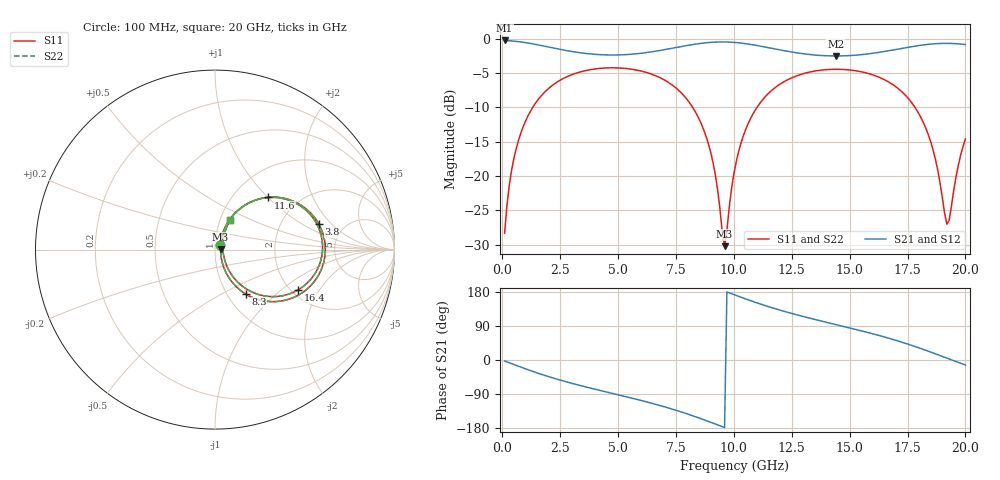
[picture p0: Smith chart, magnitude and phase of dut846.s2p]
! Touchstone file exported from HFSS 2026.1.0
!  File:  C:/ffzhzh/LocalFiles/Ansys_Project_Files/temp_train_TSV_RDL_846_1783268963_38820.aedt
!  Generated:  12:45:08 AM Jul  6, 2026
!  Design:  TSV_RDL
!  Project:  temp_train_TSV_RDL_846_1783268963_38820
! Variables:
!  h_bsmrdl = 3.57um
!  h_ox = 20um
!  h_rdl = 5um
!  h_sub = 80.22um
!  h_tmrdl = 5.19um
!  h_tsv = 80.22um
!  h_via = 3um
!  l_bsmrdl = 912.9um
!  l_sub = 6381.94um
!  l_tmrdl = 778.32um
!  m_sub = 200um
!  pitch = 58.08um
!  r_tsv = 3.94um
!  s_tmrdl = 10um
!  w_bsmrdl = 24.26um
!  w_sub = 500um
!  w_tmrdl = 19.06um
!  x_tsv_center1 = 787.85um
!  x_tsv_center2 = 1725.01um
!  x_tsv_center3 = 2522.39um
!  x_tsv_center4 = 3459.55um
!  x_tsv_center5 = 4256.93um
!  x_tsv_center6 = 5194.09um
# GHz S MA R 50.000000
! Terminal data exported
! Port[1] = TM_RDL1_1_T1
! Port[2] = TM_RDL5_1_T1
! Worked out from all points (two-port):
!   200 points, 100 MHz to 20 GHz, reference 50 ohm
!   highest |S21| = -0.24 dB at 100 MHz (marker M1); lowest = -2.5 dB at 14.4 GHz (marker M2)
!   |S21| within 3 dB of the highest: start of sweep to end of sweep
!   lowest |S11| = -30.2 dB at 9.6 GHz (marker M3), VSWR 1.06, Z = 53.2 + j0.105 ohm
!   |S11| at or under -10 dB: start of sweep to 1.315 GHz; 8.222 GHz to 11 GHz (2.776 GHz wide, 28.9 % of centre); 17.82 GHz to end of sweep
!   |S22| runs from -30.2 to -4.2 dB; largest |S21 - S12| = 1.6e-14
!   S11 on the Smith chart (normalised r, x): 100 MHz: 1.06, +0.06; 3.8 GHz: 3.27, +1.43; 8.3 GHz: 1.22, -0.66; 11.6 GHz: 1.43, +1.01; 16.4 GHz: 2.16, -1.32; 20 GHz: 1.12, +0.38
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0.1  0.03829 43.7  0.9731 -2.5  0.9731 -2.5  0.03829 43.7
! Gamma 0 0 0 0
! Port Impedance 50 0 50 0
0.5  0.1339 65.4  0.962 -11.9  0.962 -11.9  0.1339 65.4
1.1  0.272 58.2  0.9327 -25.5  0.9327 -25.5  0.272 58.2
2.2  0.4627 38.8  0.8575 -47.6  0.8575 -47.6  0.4627 38.8
3.5  0.5814 18.1  0.7862 -69.5  0.7862 -69.5  0.5815 18.1
3.8  0.5958 13.7  0.7761 -74.1  0.7761 -74.1  0.5958 13.7
5.3  0.6087 -7.4  0.7666 -96.2  0.7666 -96.2  0.6088 -7.4
6.8  0.5221 -29.8  0.822 -119.9  0.822 -119.9  0.5221 -29.8
8.3  0.3011 -55.3  0.9127 -148.8  0.9127 -148.8  0.3012 -55.3
9.1  0.1256 -64.3  0.945 -166.6  0.945 -166.6  0.1256 -64.3
9.6  0.03079 1.8  0.9491 -178.2  0.9491 -178.2  0.03092 1.8
10.1  0.1264 65.0  0.9391 170.3  0.9391 170.3  0.1264 64.9
10.7  0.2581 59.3  0.9117 157.0  0.9117 157.0  0.2581 59.3
11.6  0.4158 44.3  0.8549 138.8  0.8549 138.8  0.4158 44.3
13.4  0.5782 16.5  0.7646 108.5  0.7646 108.5  0.5782 16.5
14.4  0.5997 2.6  0.7499 93.7  0.7499 93.7  0.5998 2.6
16.4  0.5136 -26.0  0.8032 62.6  0.8032 62.6  0.5137 -26.0
16.7  0.483 -30.6  0.8193 57.4  0.8193 57.4  0.4831 -30.7
18.3  0.2212 -55.0  0.908 25.4  0.908 25.4  0.2212 -55.1
18.7  0.1338 -55.9  0.9212 16.4  0.9212 16.4  0.1338 -56.1
19.2  0.04455 -4.7  0.9267 5.0  0.9267 5.0  0.04432 -4.9
20  0.186 62.6  0.9085 -13.2  0.9085 -13.2  0.1858 62.6
